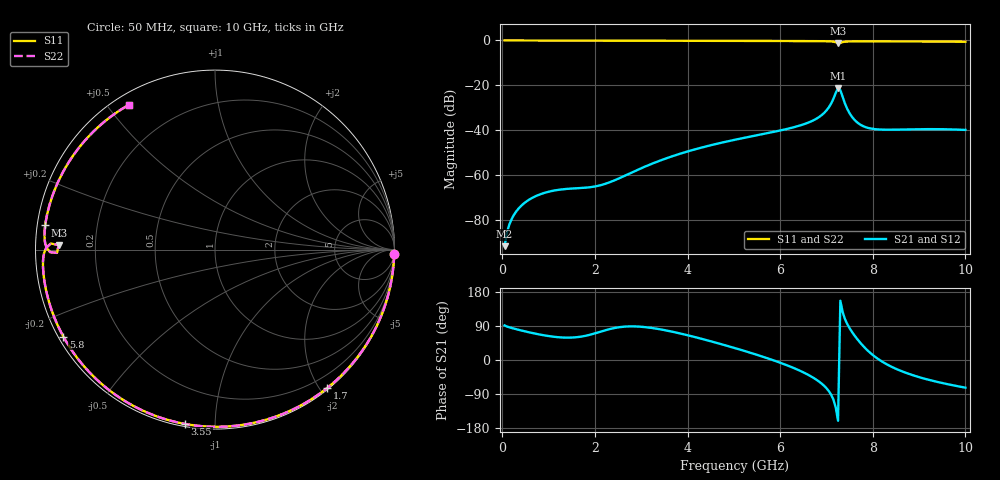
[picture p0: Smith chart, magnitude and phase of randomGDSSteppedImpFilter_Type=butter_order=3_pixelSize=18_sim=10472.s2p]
! freq	dB(S11)	phase(S11)	dB(S12)	phase(S12)
!  dB(S21)	phase(S21)	dB(S22)	phase(S22)
!S-par simulation data
#  GHz  S  DB  R 50
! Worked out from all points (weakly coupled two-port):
!   200 points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, 50 MHz to 10 GHz, reference 50 ohm
!   highest |S21| = -21.23 dB at 7.25 GHz (marker M1); lowest = -91.6 dB at 50 MHz (marker M2)
!   lowest |S11| = -1.2 dB at 7.25 GHz (marker M3), VSWR 14.54, Z = 3.44 + j0.713 ohm
!   |S11| at or under -10 dB: nowhere
!   |S22| runs from -1.2 to 0.0 dB; largest |S21 - S12| = 0
!   S11 on the Smith chart (normalised r, x): 50 MHz: 2, -77; 1.7 GHz: 0.02, -2.10; 3.55 GHz: 0.01, -0.84; 5.8 GHz: 0.01, -0.27; 7.7 GHz: 0.02, +0.07; 10 GHz: 0.04, +0.57
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0.05  -0.01 -1.5  -91.62 91.2  -91.62 91.2  -0.01 -1.5
0.2  -0.02 -6.1  -79.61 84.5  -79.61 84.5  -0.02 -6.1
0.4  -0.02 -12.3  -73.81 78.2  -73.81 78.2  -0.02 -12.3
0.75  -0.03 -22.9  -69.08 68.6  -69.08 68.6  -0.03 -22.9
1.15  -0.04 -34.9  -66.72 60.8  -66.72 60.8  -0.04 -34.9
1.7  -0.06 -50.9  -65.71 61.6  -65.71 61.6  -0.06 -50.9
1.75  -0.07 -52.3  -65.64 62.7  -65.64 62.7  -0.07 -52.3
2.25  -0.08 -66.2  -63.67 79.3  -63.67 79.3  -0.08 -66.2
3.4  -0.12 -96.0  -53.56 81.2  -53.56 81.2  -0.12 -96.0
3.55  -0.12 -99.7  -52.43 77.7  -52.43 77.7  -0.12 -99.7
5.05  -0.19 -134.1  -44.11 30.5  -44.11 30.5  -0.19 -134.1
5.8  -0.23 -150.2  -40.97 1.5  -40.97 1.5  -0.23 -150.2
6.7  -0.29 -169.3  -35.76 -45.6  -35.76 -45.6  -0.29 -169.3
7  -0.35 -176.3  -31.17 -74.4  -31.17 -74.4  -0.35 -176.3
7.1  -0.43 -179.0  -28.14 -91.3  -28.14 -91.3  -0.43 -179.0
7.25  -1.20 178.4  -21.23 -160.3  -21.23 -160.3  -1.20 178.3
7.3  -1.10 -178.8  -22.15 156.4  -22.15 156.4  -1.10 -178.8
7.5  -0.44 176.6  -32.45 83.8  -32.45 83.8  -0.44 176.5
7.7  -0.39 171.7  -37.08 49.8  -37.08 49.8  -0.39 171.7
7.95  -0.40 166.2  -39.20 18.3  -39.20 18.3  -0.40 166.2
8.35  -0.42 157.5  -39.76 -14.5  -39.76 -14.5  -0.42 157.5
10  -0.55 120.6  -39.85 -73.0  -39.85 -73.0  -0.55 120.5
